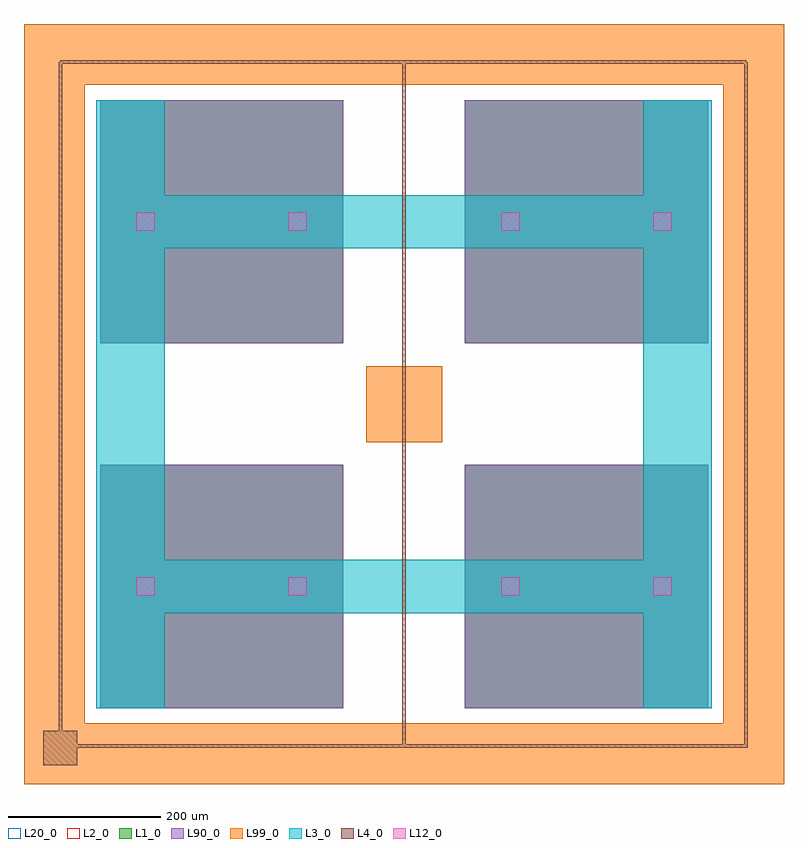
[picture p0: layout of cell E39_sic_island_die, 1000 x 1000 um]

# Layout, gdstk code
import gdstk
lib = gdstk.Library(unit=1e-6, precision=1e-09)
def R(c, l, rs):  # rectangles x0, y0, x1, y1
    for r in rs: c.add(gdstk.rectangle(r[:2], r[2:], *l))
L1_0 = (1, 0)
L2_0 = (2, 0)
L3_0 = (3, 0)
L4_0 = (4, 0)
L12_0 = (12, 0)
L20_0 = (20, 0)
L90_0 = (90, 0)
L99_0 = (99, 0)

sic_active_island = lib.new_cell('SIC_ACTIVE_ISLAND')
R(sic_active_island, L1_0, [(0,0,320,320)])
R(sic_active_island, L90_0, [(0,0,320,320)])

e39_sic_island_die = lib.new_cell('E39_sic_island_die')
R(e39_sic_island_die, L2_0, [(0,0,1000,1000)])
R(e39_sic_island_die, L3_0, [(95,100,185,900), (815,100,905,900), (95,225,905,295), (95,705,905,775)])
R(e39_sic_island_die, L4_0, [(25,25,70,70), (46,45,50,950), (48,48,950,52), (948,48,952,950), (498,50,502,950), (48,948,950,952)])
R(e39_sic_island_die, L12_0, [(148,248,172,272), (348,248,372,272), (628,248,652,272), (828,248,852,272), (148,728,172,752), (348,728,372,752), (628,728,652,752), (828,728,852,752)])
R(e39_sic_island_die, L20_0, [(0,0,1000,1000)])
R(e39_sic_island_die, L99_0, [(0,0,1000,80), (0,80,80,920), (920,80,1000,920), (450,450,550,550), (0,920,1000,1000)])
e39_sic_island_die.add(gdstk.Reference(sic_active_island, (100,100)))
e39_sic_island_die.add(gdstk.Reference(sic_active_island, (580,100)))
e39_sic_island_die.add(gdstk.Reference(sic_active_island, (100,580)))
e39_sic_island_die.add(gdstk.Reference(sic_active_island, (580,580)))

lib.write_gds('E39_sic_island_die.gds')
